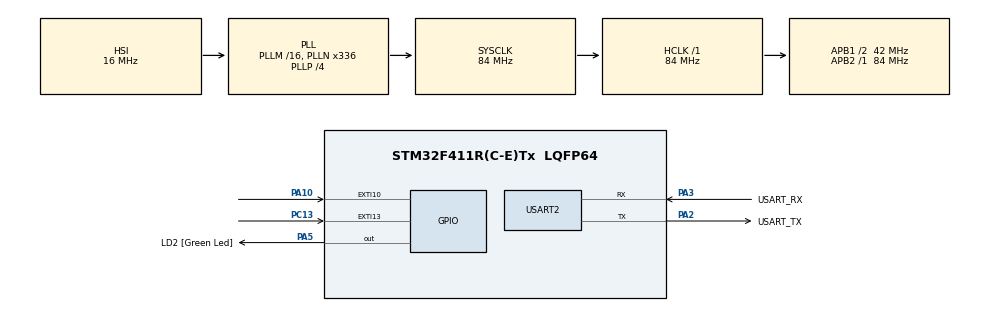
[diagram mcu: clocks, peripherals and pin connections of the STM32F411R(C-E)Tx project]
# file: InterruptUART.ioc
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Mcu.Family=STM32F4
Mcu.Name=STM32F411R(C-E)Tx
Mcu.Package=LQFP64
NVIC.EXTI15_10_IRQn=true\:0\:0\:false\:false\:true\:true\:true\:true
NVIC.PriorityGroup=NVIC_PRIORITYGROUP_0
NVIC.USART2_IRQn=true\:0\:0\:false\:false\:true\:true\:true\:true
PA10.Signal=GPXTI10
PA13.GPIO_Label=TMS
PA13.Mode=Serial_Wire
PA13.Signal=SYS_JTMS-SWDIO
PA14.GPIO_Label=TCK
PA14.Mode=Serial_Wire
PA14.Signal=SYS_JTCK-SWCLK
PA2.GPIO_Label=USART_TX
PA2.Mode=Asynchronous
PA2.Signal=USART2_TX
PA3.GPIO_Label=USART_RX
PA3.Mode=Asynchronous
PA3.Signal=USART2_RX
PA5.GPIO_Label=LD2 [Green Led]
PA5.Signal=GPIO_Output
PB3.GPIO_Label=SWO
PB3.Signal=SYS_JTDO-SWO
PC13-ANTI_TAMP.GPIO_ModeDefaultEXTI=GPIO_MODE_IT_RISING
PC13-ANTI_TAMP.Signal=GPXTI13
PC14-OSC32_IN.Mode=LSE-External-Oscillator
PC14-OSC32_IN.Signal=RCC_OSC32_IN
PC15-OSC32_OUT.Mode=LSE-External-Oscillator
PC15-OSC32_OUT.Signal=RCC_OSC32_OUT
PH0\ -\ OSC_IN.Mode=HSE-External-Clock-Source
PH0\ -\ OSC_IN.Signal=RCC_OSC_IN
PH1\ -\ OSC_OUT.Mode=HSE-External-Clock-Source
PH1\ -\ OSC_OUT.Signal=RCC_OSC_OUT
ProjectManager.HeapSize=0x200
ProjectManager.StackSize=0x400
ProjectManager.TargetToolchain=STM32CubeIDE
RCC.48MHZClocksFreq_Value=84000000
RCC.AHBFreq_Value=84000000
RCC.APB1CLKDivider=RCC_HCLK_DIV2
RCC.APB1Freq_Value=42000000
RCC.APB1TimFreq_Value=84000000
RCC.APB2Freq_Value=84000000
RCC.APB2TimFreq_Value=84000000
RCC.CortexFreq_Value=84000000
RCC.FLatency-AdvancedSettings=FLASH_LATENCY_2
RCC.HCLKFreq_Value=84000000
RCC.HSE_VALUE=8000000
RCC.HSI_VALUE=16000000
RCC.PLLN=336
RCC.PLLP=RCC_PLLP_DIV4
RCC.SYSCLKFreq_VALUE=84000000
RCC.SYSCLKSource=RCC_SYSCLKSOURCE_PLLCLK
RCC.VCOOutputFreq_Value=336000000
USART2.Parity=PARITY_NONE
USART2.VirtualMode=VM_ASYNC
board=NUCLEO-F411RE

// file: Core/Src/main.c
/* USER CODE BEGIN Header */
/**
  ******************************************************************************
  * @file           : main.c
  * @brief          : Main program body
  ******************************************************************************
  * @attention
  *
  * Copyright (c) 2026 STMicroelectronics.
  * All rights reserved.
  *
  * This software is licensed under terms that can be found in the LICENSE file
  * in the root directory of this software component.
  * If no LICENSE file comes with this software, it is provided AS-IS.
  *
  ******************************************************************************
  */
/* USER CODE END Header */
#include "main.h"

/* USER CODE BEGIN Includes */
#include <stdio.h>
/* USER CODE END Includes */

UART_HandleTypeDef huart2;

void SystemClock_Config(void);
static void MX_GPIO_Init(void);
static void MX_USART2_UART_Init(void);
/* USER CODE BEGIN PFP */
void SystemClock_Config(void);
static void MX_GPIO_Init(void);
static void MX_USART2_UART_Init(void);
/* USER CODE BEGIN PFP */
#ifdef __GNUC__
  #define PUTCHAR_PROTOTYPE int __io_putchar(int ch)
#else
  #define PUTCHAR_PROTOTYPE int fputc(int ch, FILE *f)
#endif

PUTCHAR_PROTOTYPE
{
  HAL_UART_Transmit(&huart2, (uint8_t *)&ch, 1, 0xFFFF);
  return ch;
}
/* USER CODE END PFP */

/* USER CODE BEGIN 0 */
uint8_t rxData;
uint8_t txData[] = "UART Interrupt Started!\r\n";
/* USER CODE END 0 */

int main(void)
{

  /* MCU Configuration--------------------------------------------------------*/

  /* Reset of all peripherals, Initializes the Flash interface and the Systick. */
  HAL_Init();

  /* Configure the system clock */
  SystemClock_Config();

  /* Initialize all configured peripherals */
  MX_GPIO_Init();
  MX_USART2_UART_Init();
  /* USER CODE BEGIN 2 */
  HAL_UART_Transmit_IT(&huart2,txData,sizeof(txData));
  HAL_UART_Receive_IT(&huart2, &rxData, 1);
  /* USER CODE END 2 */

  /* Infinite loop */
  while (1)
  {
  }
}

void SystemClock_Config(void)
{
  RCC_OscInitTypeDef RCC_OscInitStruct = {0};
  RCC_ClkInitTypeDef RCC_ClkInitStruct = {0};

  /** Configure the main internal regulator output voltage
  */
  __HAL_RCC_PWR_CLK_ENABLE();
  __HAL_PWR_VOLTAGESCALING_CONFIG(PWR_REGULATOR_VOLTAGE_SCALE1);

  /** Initializes the RCC Oscillators according to the specified parameters
  * in the RCC_OscInitTypeDef structure.
  */
  RCC_OscInitStruct.OscillatorType = RCC_OSCILLATORTYPE_HSI;
  RCC_OscInitStruct.HSIState = RCC_HSI_ON;
  RCC_OscInitStruct.HSICalibrationValue = RCC_HSICALIBRATION_DEFAULT;
  RCC_OscInitStruct.PLL.PLLState = RCC_PLL_ON;
  RCC_OscInitStruct.PLL.PLLSource = RCC_PLLSOURCE_HSI;
  RCC_OscInitStruct.PLL.PLLM = 16;
  RCC_OscInitStruct.PLL.PLLN = 336;
  RCC_OscInitStruct.PLL.PLLP = RCC_PLLP_DIV4;
  RCC_OscInitStruct.PLL.PLLQ = 4;
  if (HAL_RCC_OscConfig(&RCC_OscInitStruct) != HAL_OK)
  {
    Error_Handler();
  }

  /** Initializes the CPU, AHB and APB buses clocks
  */
  RCC_ClkInitStruct.ClockType = RCC_CLOCKTYPE_HCLK|RCC_CLOCKTYPE_SYSCLK
                              |RCC_CLOCKTYPE_PCLK1|RCC_CLOCKTYPE_PCLK2;
  RCC_ClkInitStruct.SYSCLKSource = RCC_SYSCLKSOURCE_PLLCLK;
  RCC_ClkInitStruct.AHBCLKDivider = RCC_SYSCLK_DIV1;
  RCC_ClkInitStruct.APB1CLKDivider = RCC_HCLK_DIV2;
  RCC_ClkInitStruct.APB2CLKDivider = RCC_HCLK_DIV1;

  if (HAL_RCC_ClockConfig(&RCC_ClkInitStruct, FLASH_LATENCY_2) != HAL_OK)
  {
    Error_Handler();
  }
}

static void MX_USART2_UART_Init(void)
{

  huart2.Instance = USART2;
  huart2.Init.BaudRate = 115200;
  huart2.Init.WordLength = UART_WORDLENGTH_8B;
  huart2.Init.StopBits = UART_STOPBITS_1;
  huart2.Init.Parity = UART_PARITY_NONE;
  huart2.Init.Mode = UART_MODE_TX_RX;
  huart2.Init.HwFlowCtl = UART_HWCONTROL_NONE;
  huart2.Init.OverSampling = UART_OVERSAMPLING_16;
  if (HAL_UART_Init(&huart2) != HAL_OK)
  {
    Error_Handler();
  }

}

static void MX_GPIO_Init(void)
{
  GPIO_InitTypeDef GPIO_InitStruct = {0};

  /* GPIO Ports Clock Enable */
  __HAL_RCC_GPIOC_CLK_ENABLE();
  __HAL_RCC_GPIOH_CLK_ENABLE();
  __HAL_RCC_GPIOA_CLK_ENABLE();
  __HAL_RCC_GPIOB_CLK_ENABLE();

  /*Configure GPIO pin Output Level */
  HAL_GPIO_WritePin(LD2_GPIO_Port, LD2_Pin, GPIO_PIN_RESET);

  /*Configure GPIO pin : PC13 */
  GPIO_InitStruct.Pin = GPIO_PIN_13;
  GPIO_InitStruct.Mode = GPIO_MODE_IT_RISING;
  GPIO_InitStruct.Pull = GPIO_NOPULL;
  HAL_GPIO_Init(GPIOC, &GPIO_InitStruct);

  /*Configure GPIO pin : LD2_Pin */
  GPIO_InitStruct.Pin = LD2_Pin;
  GPIO_InitStruct.Mode = GPIO_MODE_OUTPUT_PP;
  GPIO_InitStruct.Pull = GPIO_NOPULL;
  GPIO_InitStruct.Speed = GPIO_SPEED_FREQ_LOW;
  HAL_GPIO_Init(LD2_GPIO_Port, &GPIO_InitStruct);

  /*Configure GPIO pin : PA10 */
  GPIO_InitStruct.Pin = GPIO_PIN_10;
  GPIO_InitStruct.Mode = GPIO_MODE_IT_RISING;
  GPIO_InitStruct.Pull = GPIO_NOPULL;
  HAL_GPIO_Init(GPIOA, &GPIO_InitStruct);

  /* EXTI interrupt init*/
  HAL_NVIC_SetPriority(EXTI15_10_IRQn, 0, 0);
  HAL_NVIC_EnableIRQ(EXTI15_10_IRQn);

}

/* USER CODE BEGIN 4 */
void HAL_UART_RxCpltCallback(UART_HandleTypeDef *huart){
	printf("received : %s \r\n",&rxData);

	if(huart->Instance == USART2){
		HAL_UART_Receive_IT(huart, &rxData, 1);}
}

void HAL_UART_TxCpltCallback(UART_HandleTypeDef *huart){

}
/* USER CODE END 4 */

void Error_Handler(void)
{
  __disable_irq();
  while (1)
  {
  }
}
